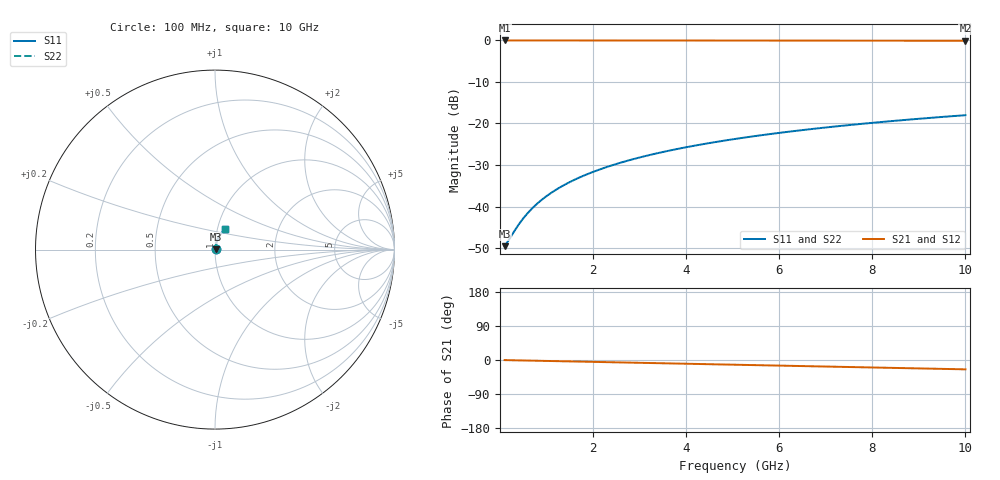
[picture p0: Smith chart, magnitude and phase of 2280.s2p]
# Hz S RI R 50.00
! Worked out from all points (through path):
!   100 points, 100 MHz to 10 GHz, reference 50 ohm
!   highest |S21| = -0.03 dB at 100 MHz (marker M1); lowest = -0.1 dB at 10 GHz (marker M2)
!   group delay of S21, straight-line fit = 6.85 ps
!   lowest |S11| = -49.5 dB at 100 MHz (marker M3), VSWR 1.01, Z = 50.3 + j0.129 ohm
!   |S11| at or under -10 dB: start of sweep to end of sweep
!   |S22| runs from -49.5 to -18.0 dB; largest |S21 - S12| = 0
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1e8  0.00308 0.00129  0.9969 -0.00429  0.9969 -0.00429  0.00308 0.00129
2e8  0.00312 0.00257  0.9969 -0.00858  0.9969 -0.00858  0.00312 0.00257
3e8  0.00316 0.00386  0.9968 -0.0129  0.9968 -0.0129  0.00316 0.00386
4e8  0.00321 0.00514  0.9967 -0.0172  0.9967 -0.0172  0.00321 0.00514
5e8  0.00327 0.00643  0.9966 -0.0214  0.9966 -0.0214  0.00327 0.00643
6e8  0.00334 0.00771  0.9965 -0.0257  0.9965 -0.0257  0.00334 0.00771
7e8  0.00342 0.00899  0.9963 -0.03  0.9963 -0.03  0.00342 0.00899
8e8  0.00351 0.0103  0.9962 -0.0343  0.9962 -0.0343  0.00351 0.0103
1e9  0.00372 0.0128  0.9958 -0.0429  0.9958 -0.0429  0.00372 0.0128
1.2e9  0.00397 0.0154  0.9953 -0.0515  0.9953 -0.0515  0.00397 0.0154
1.5e9  0.00443 0.0192  0.9945 -0.0643  0.9945 -0.0643  0.00443 0.0192
1.8e9  0.00499 0.023  0.9935 -0.0771  0.9935 -0.0771  0.00499 0.023
2.1e9  0.00565 0.0268  0.9923 -0.0899  0.9923 -0.0899  0.00565 0.0268
2.5e9  0.00667 0.0319  0.9904 -0.107  0.9904 -0.107  0.00667 0.0319
2.9e9  0.00787 0.0369  0.9882 -0.124  0.9882 -0.124  0.00787 0.0369
3.4e9  0.0096 0.043  0.9851 -0.1452  0.9851 -0.1452  0.0096 0.043
4.2e9  0.0129 0.0528  0.9789 -0.179  0.9789 -0.179  0.0129 0.0528
5.1e9  0.0175 0.0634  0.9706 -0.2166  0.9706 -0.2166  0.0175 0.0634
5.9e9  0.0222 0.0725  0.9618 -0.2497  0.9618 -0.2497  0.0222 0.0725
6.7e9  0.0275 0.0812  0.9518 -0.2825  0.9518 -0.2825  0.0275 0.0812
8.4e9  0.0407 0.0985  0.9267 -0.3505  0.9267 -0.3505  0.0407 0.0985
1e10  0.0554 0.1129  0.8984 -0.4124  0.8984 -0.4124  0.0554 0.1129
